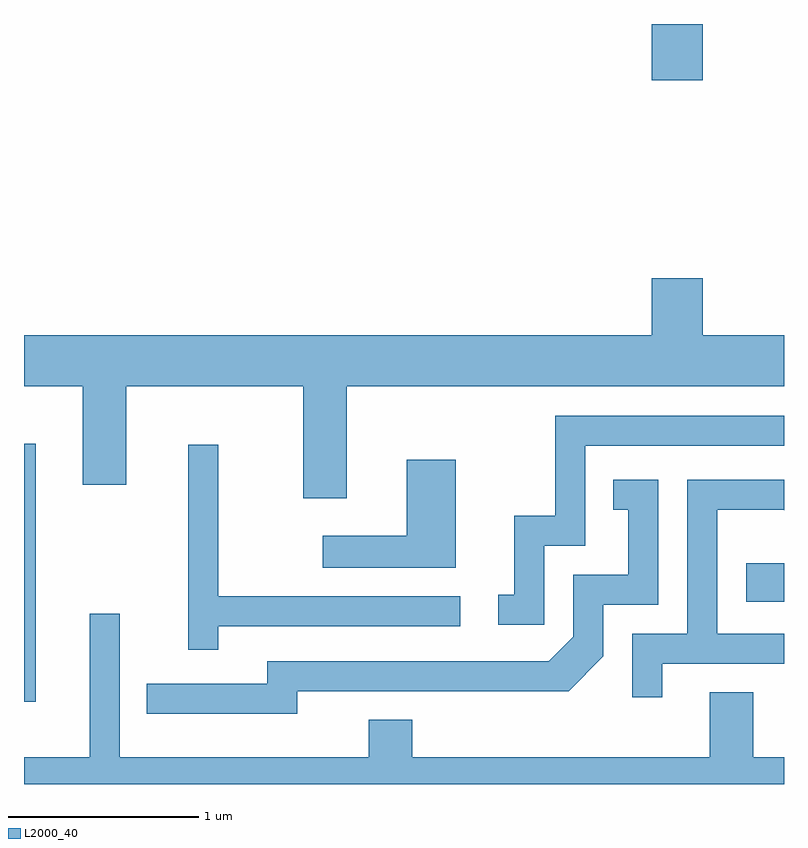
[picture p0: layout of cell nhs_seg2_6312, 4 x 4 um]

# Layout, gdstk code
import gdstk
lib = gdstk.Library(unit=1e-6, precision=1e-09)
def R(c, l, rs):  # rectangles x0, y0, x1, y1
    for r in rs: c.add(gdstk.rectangle(r[:2], r[2:], *l))
def P(c, l, *ps):  # polygons
    for p in ps: c.add(gdstk.Polygon(p, *l))
L2000_40 = (2000, 40)

nhs_seg2_6312 = lib.new_cell('nhs_seg2_6312')
R(nhs_seg2_6312, L2000_40, [(371.611,1022.236,371.674,1023.594), (375.411,1022.761,375.611,1022.964), (374.916,1025.506,375.184,1025.802)])
P(nhs_seg2_6312, L2000_40, [(373.309,1023.896),(375.611,1023.896),(375.611,1024.164),(375.184,1024.164),(375.184,1024.464),(374.916,1024.464),(374.916,1024.164),(371.611,1024.164),(371.611,1023.896),(371.921,1023.896),(371.921,1023.376),(372.149,1023.376),(372.149,1023.896),(373.081,1023.896),(373.081,1023.306),(373.309,1023.306)],
  [(374.349,1023.056),(374.564,1023.056),(374.564,1023.581),(375.611,1023.581),(375.611,1023.739),(374.406,1023.739),(374.406,1023.214),(374.191,1023.214),(374.191,1022.799),(374.108,1022.799),(374.108,1022.641),(374.349,1022.641)],
  [(372.634,1022.631),(373.908,1022.631),(373.908,1022.789),(372.634,1022.789),(372.634,1023.588),(372.476,1023.588),(372.476,1022.508),(372.634,1022.508)],
  [(373.884,1023.509),(373.626,1023.509),(373.626,1023.109),(373.183,1023.109),(373.183,1022.941),(373.884,1022.941)],
  [(373.049,1022.291),(374.477,1022.291),(374.659,1022.474),(374.659,1022.746),(374.949,1022.746),(374.949,1023.404),(374.713,1023.404),(374.713,1023.246),(374.791,1023.246),(374.791,1022.904),(374.501,1022.904),(374.501,1022.577),(374.374,1022.449),(372.891,1022.449),(372.891,1022.329),(372.258,1022.329),(372.258,1022.171),(373.049,1022.171)],
  [(374.969,1022.436),(375.611,1022.436),(375.611,1022.594),(375.259,1022.594),(375.259,1023.246),(375.609,1023.246),(375.611,1023.244),(375.611,1023.404),(375.101,1023.404),(375.101,1022.594),(374.811,1022.594),(374.811,1022.258),(374.969,1022.258)],
  [(375.611,1021.944),(375.449,1021.944),(375.449,1022.284),(375.221,1022.284),(375.221,1021.944),(373.654,1021.944),(373.654,1022.139),(373.426,1022.139),(373.426,1021.944),(372.114,1021.944),(372.114,1022.698),(371.956,1022.698),(371.956,1021.944),(371.611,1021.944),(371.611,1021.802),(375.611,1021.802)])

lib.write_gds('nhs_seg2_6312.gds')
